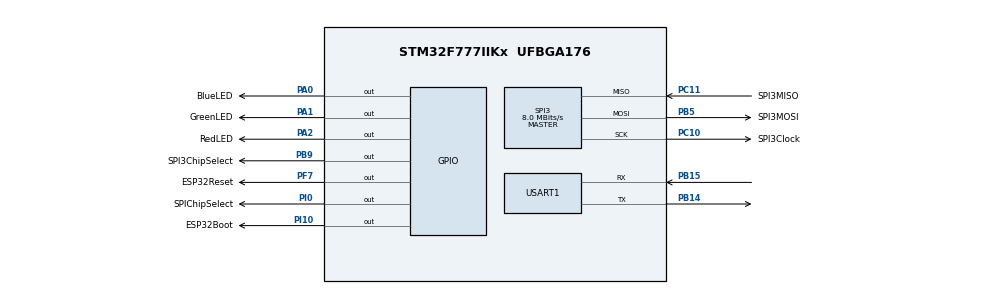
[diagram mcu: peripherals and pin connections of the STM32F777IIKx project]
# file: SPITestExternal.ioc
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Mcu.Family=STM32F7
Mcu.Name=STM32F777IIKx
Mcu.Package=UFBGA176
NVIC.PriorityGroup=NVIC_PRIORITYGROUP_4
NVIC.USART1_IRQn=true\:0\:0\:false\:false\:true\:true\:true
PA0/WKUP.GPIO_Label=BlueLED
PA0/WKUP.Signal=GPIO_Output
PA1.GPIO_Label=GreenLED
PA1.Signal=GPIO_Output
PA2.GPIO_Label=RedLED
PA2.Signal=GPIO_Output
PB14.Mode=Asynchronous
PB14.Signal=USART1_TX
PB15.Mode=Asynchronous
PB15.Signal=USART1_RX
PB5.GPIO_Label=SPI3MOSI
PB5.Mode=Full_Duplex_Master
PB5.Signal=SPI3_MOSI
PB9.GPIO_Label=SPI3ChipSelect
PB9.Signal=GPIO_Output
PC10.GPIO_Label=SPI3Clock
PC10.Mode=Full_Duplex_Master
PC10.Signal=SPI3_SCK
PC11.GPIO_Label=SPI3MISO
PC11.Mode=Full_Duplex_Master
PC11.Signal=SPI3_MISO
PD3.Signal=SPI2_SCK
PF7.GPIO_Label=ESP32Reset
PF7.GPIO_PuPd=GPIO_PULLUP
PF7.PinState=GPIO_PIN_SET
PF7.Signal=GPIO_Output
PI0.GPIO_Label=SPIChipSelect
PI0.PinState=GPIO_PIN_SET
PI0.Signal=GPIO_Output
PI10.GPIO_Label=ESP32Boot
PI10.GPIO_PuPd=GPIO_PULLUP
PI10.PinState=GPIO_PIN_SET
PI10.Signal=GPIO_Output
PI2.Signal=SPI2_MISO
PI3.Signal=SPI2_MOSI
ProjectManager.HeapSize=0x200
ProjectManager.StackSize=0x400
ProjectManager.TargetToolchain=STM32CubeIDE
RCC.HSE_VALUE=25000000
RCC.HSI_VALUE=16000000
RCC.LSE_VALUE=32768
RCC.USBFreq_Value=96000000
RCC.VCOOutputFreq_Value=192000000
SPI3.CalculateBaudRate=8.0 MBits/s
SPI3.DataSize=SPI_DATASIZE_8BIT
SPI3.Direction=SPI_DIRECTION_2LINES
SPI3.Mode=SPI_MODE_MASTER
SPI3.VirtualType=VM_MASTER
USART1.VirtualMode-Asynchronous=VM_ASYNC
board=custom

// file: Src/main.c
/* USER CODE BEGIN Header */
/**
  ******************************************************************************
  * @file           : main.c
  * @brief          : Main program body
  ******************************************************************************
  ** This notice applies to any and all portions of this file
  * that are not between comment pairs USER CODE BEGIN and
  * USER CODE END. Other portions of this file, whether
  * inserted by the user or by software development tools
  * are owned by their respective copyright owners.
  *
  * COPYRIGHT(c) 2019 STMicroelectronics
  *
  * Redistribution and use in source and binary forms, with or without modification,
  * are permitted provided that the following conditions are met:
  *   1. Redistributions of source code must retain the above copyright notice,
  *      this list of conditions and the following disclaimer.
  *   2. Redistributions in binary form must reproduce the above copyright notice,
  *      this list of conditions and the following disclaimer in the documentation
  *      and/or other materials provided with the distribution.
  *   3. Neither the name of STMicroelectronics nor the names of its contributors
  *      may be used to endorse or promote products derived from this software
  *      without specific prior written permission.
  *
  * THIS SOFTWARE IS PROVIDED BY THE COPYRIGHT HOLDERS AND CONTRIBUTORS "AS IS"
  * AND ANY EXPRESS OR IMPLIED WARRANTIES, INCLUDING, BUT NOT LIMITED TO, THE
  * IMPLIED WARRANTIES OF MERCHANTABILITY AND FITNESS FOR A PARTICULAR PURPOSE ARE
  * DISCLAIMED. IN NO EVENT SHALL THE COPYRIGHT HOLDER OR CONTRIBUTORS BE LIABLE
  * FOR ANY DIRECT, INDIRECT, INCIDENTAL, SPECIAL, EXEMPLARY, OR CONSEQUENTIAL
  * DAMAGES (INCLUDING, BUT NOT LIMITED TO, PROCUREMENT OF SUBSTITUTE GOODS OR
  * SERVICES; LOSS OF USE, DATA, OR PROFITS; OR BUSINESS INTERRUPTION) HOWEVER
  * CAUSED AND ON ANY THEORY OF LIABILITY, WHETHER IN CONTRACT, STRICT LIABILITY,
  * OR TORT (INCLUDING NEGLIGENCE OR OTHERWISE) ARISING IN ANY WAY OUT OF THE USE
  * OF THIS SOFTWARE, EVEN IF ADVISED OF THE POSSIBILITY OF SUCH DAMAGE.
  *
  ******************************************************************************
  */
/* USER CODE END Header */

#include "main.h"

/* USER CODE BEGIN Includes */

#include <string.h>
#include <stdio.h>

/* USER CODE END Includes */

SPI_HandleTypeDef hspi3;

UART_HandleTypeDef huart1;

void SystemClock_Config(void);
static void MX_GPIO_Init(void);
static void MX_USART1_UART_Init(void);
static void MX_SPI3_Init(void);

int main(void)
{

  /* MCU Configuration--------------------------------------------------------*/

  /* Reset of all peripherals, Initializes the Flash interface and the Systick. */
  HAL_Init();

  /* Configure the system clock */
  SystemClock_Config();

  /* Initialize all configured peripherals */
  MX_GPIO_Init();
  MX_USART1_UART_Init();
  MX_SPI3_Init();

  /* Infinite loop */
  /* USER CODE BEGIN WHILE */

    char sendBuffer[129];
    char receiveBuffer[129];
    int counter = 0;

    HAL_GPIO_WritePin(RedLED_GPIO_Port, RedLED_Pin, GPIO_PIN_SET);
    HAL_GPIO_WritePin(GreenLED_GPIO_Port, GreenLED_Pin, GPIO_PIN_SET);
    HAL_GPIO_WritePin(BlueLED_GPIO_Port, BlueLED_Pin, GPIO_PIN_SET);

    HAL_GPIO_WritePin(ESP32Boot_GPIO_Port, ESP32Boot_Pin, GPIO_PIN_SET);
    HAL_GPIO_WritePin(ESP32Reset_GPIO_Port, ESP32Reset_Pin, GPIO_PIN_RESET);
    HAL_Delay(1);
    HAL_GPIO_WritePin(ESP32Reset_GPIO_Port, ESP32Reset_Pin, GPIO_PIN_SET);
    HAL_GPIO_DeInit(ESP32Reset_GPIO_Port, ESP32Reset_Pin);

    while (1)
    {
      memset(sendBuffer, ' ', sizeof(sendBuffer));
      snprintf(sendBuffer, sizeof(sendBuffer), "Hello, world %d", counter);
      counter++;
      int length = strlen(sendBuffer);
      int transmitLength = length + (4 - (length % 4));
      sendBuffer[length] = ' ';
      if (transmitLength < 32) transmitLength = 32;
      HAL_GPIO_WritePin(SPI3ChipSelect_GPIO_Port, SPI3ChipSelect_Pin, GPIO_PIN_RESET);
      memset(receiveBuffer, 0, sizeof(receiveBuffer));
      HAL_SPI_TransmitReceive(&hspi3, (uint8_t *) sendBuffer, (uint8_t *) receiveBuffer, transmitLength, HAL_MAX_DELAY);
      HAL_GPIO_WritePin(SPI3ChipSelect_GPIO_Port, SPI3ChipSelect_Pin, GPIO_PIN_SET);
      strcat(receiveBuffer, "\n\x00");

      HAL_UART_Transmit(&huart1, (uint8_t *) receiveBuffer, strlen(receiveBuffer), HAL_MAX_DELAY);
      HAL_GPIO_TogglePin(BlueLED_GPIO_Port, BlueLED_Pin);
      HAL_Delay(500);

    /* USER CODE END WHILE */

    }
}

void SystemClock_Config(void)
{
  RCC_OscInitTypeDef RCC_OscInitStruct = {0};
  RCC_ClkInitTypeDef RCC_ClkInitStruct = {0};
  RCC_PeriphCLKInitTypeDef PeriphClkInitStruct = {0};

  /** Configure the main internal regulator output voltage
  */
  __HAL_RCC_PWR_CLK_ENABLE();
  __HAL_PWR_VOLTAGESCALING_CONFIG(PWR_REGULATOR_VOLTAGE_SCALE3);
  /** Initializes the CPU, AHB and APB busses clocks
  */
  RCC_OscInitStruct.OscillatorType = RCC_OSCILLATORTYPE_HSI;
  RCC_OscInitStruct.HSIState = RCC_HSI_ON;
  RCC_OscInitStruct.HSICalibrationValue = RCC_HSICALIBRATION_DEFAULT;
  RCC_OscInitStruct.PLL.PLLState = RCC_PLL_NONE;
  if (HAL_RCC_OscConfig(&RCC_OscInitStruct) != HAL_OK)
  {
    Error_Handler();
  }
  /** Initializes the CPU, AHB and APB busses clocks
  */
  RCC_ClkInitStruct.ClockType = RCC_CLOCKTYPE_HCLK|RCC_CLOCKTYPE_SYSCLK
                              |RCC_CLOCKTYPE_PCLK1|RCC_CLOCKTYPE_PCLK2;
  RCC_ClkInitStruct.SYSCLKSource = RCC_SYSCLKSOURCE_HSI;
  RCC_ClkInitStruct.AHBCLKDivider = RCC_SYSCLK_DIV1;
  RCC_ClkInitStruct.APB1CLKDivider = RCC_HCLK_DIV1;
  RCC_ClkInitStruct.APB2CLKDivider = RCC_HCLK_DIV1;

  if (HAL_RCC_ClockConfig(&RCC_ClkInitStruct, FLASH_LATENCY_0) != HAL_OK)
  {
    Error_Handler();
  }
  PeriphClkInitStruct.PeriphClockSelection = RCC_PERIPHCLK_USART1;
  PeriphClkInitStruct.Usart1ClockSelection = RCC_USART1CLKSOURCE_PCLK2;
  if (HAL_RCCEx_PeriphCLKConfig(&PeriphClkInitStruct) != HAL_OK)
  {
    Error_Handler();
  }
}

static void MX_SPI3_Init(void)
{

  /* SPI3 parameter configuration*/
  hspi3.Instance = SPI3;
  hspi3.Init.Mode = SPI_MODE_MASTER;
  hspi3.Init.Direction = SPI_DIRECTION_2LINES;
  hspi3.Init.DataSize = SPI_DATASIZE_8BIT;
  hspi3.Init.CLKPolarity = SPI_POLARITY_LOW;
  hspi3.Init.CLKPhase = SPI_PHASE_1EDGE;
  hspi3.Init.NSS = SPI_NSS_SOFT;
  hspi3.Init.BaudRatePrescaler = SPI_BAUDRATEPRESCALER_2;
  hspi3.Init.FirstBit = SPI_FIRSTBIT_MSB;
  hspi3.Init.TIMode = SPI_TIMODE_DISABLE;
  hspi3.Init.CRCCalculation = SPI_CRCCALCULATION_DISABLE;
  hspi3.Init.CRCPolynomial = 7;
  hspi3.Init.CRCLength = SPI_CRC_LENGTH_DATASIZE;
  hspi3.Init.NSSPMode = SPI_NSS_PULSE_ENABLE;
  if (HAL_SPI_Init(&hspi3) != HAL_OK)
  {
    Error_Handler();
  }

}

static void MX_USART1_UART_Init(void)
{

  huart1.Instance = USART1;
  huart1.Init.BaudRate = 115200;
  huart1.Init.WordLength = UART_WORDLENGTH_8B;
  huart1.Init.StopBits = UART_STOPBITS_1;
  huart1.Init.Parity = UART_PARITY_NONE;
  huart1.Init.Mode = UART_MODE_TX_RX;
  huart1.Init.HwFlowCtl = UART_HWCONTROL_NONE;
  huart1.Init.OverSampling = UART_OVERSAMPLING_16;
  huart1.Init.OneBitSampling = UART_ONE_BIT_SAMPLE_DISABLE;
  huart1.AdvancedInit.AdvFeatureInit = UART_ADVFEATURE_NO_INIT;
  if (HAL_UART_Init(&huart1) != HAL_OK)
  {
    Error_Handler();
  }

}

static void MX_GPIO_Init(void)
{
  GPIO_InitTypeDef GPIO_InitStruct = {0};

  /* GPIO Ports Clock Enable */
  __HAL_RCC_GPIOB_CLK_ENABLE();
  __HAL_RCC_GPIOC_CLK_ENABLE();
  __HAL_RCC_GPIOI_CLK_ENABLE();
  __HAL_RCC_GPIOD_CLK_ENABLE();
  __HAL_RCC_GPIOF_CLK_ENABLE();
  __HAL_RCC_GPIOA_CLK_ENABLE();

  /*Configure GPIO pin Output Level */
  HAL_GPIO_WritePin(SPI3ChipSelect_GPIO_Port, SPI3ChipSelect_Pin, GPIO_PIN_RESET);

  /*Configure GPIO pin Output Level */
  HAL_GPIO_WritePin(GPIOI, ESP32Boot_Pin|SPIChipSelect_Pin, GPIO_PIN_SET);

  /*Configure GPIO pin Output Level */
  HAL_GPIO_WritePin(ESP32Reset_GPIO_Port, ESP32Reset_Pin, GPIO_PIN_SET);

  /*Configure GPIO pin Output Level */
  HAL_GPIO_WritePin(GPIOA, GreenLED_Pin|BlueLED_Pin|RedLED_Pin, GPIO_PIN_RESET);

  /*Configure GPIO pin : SPI3ChipSelect_Pin */
  GPIO_InitStruct.Pin = SPI3ChipSelect_Pin;
  GPIO_InitStruct.Mode = GPIO_MODE_OUTPUT_PP;
  GPIO_InitStruct.Pull = GPIO_NOPULL;
  GPIO_InitStruct.Speed = GPIO_SPEED_FREQ_LOW;
  HAL_GPIO_Init(SPI3ChipSelect_GPIO_Port, &GPIO_InitStruct);

  /*Configure GPIO pins : PI3 PI2 */
  GPIO_InitStruct.Pin = GPIO_PIN_3|GPIO_PIN_2;
  GPIO_InitStruct.Mode = GPIO_MODE_AF_PP;
  GPIO_InitStruct.Pull = GPIO_NOPULL;
  GPIO_InitStruct.Speed = GPIO_SPEED_FREQ_VERY_HIGH;
  GPIO_InitStruct.Alternate = GPIO_AF5_SPI2;
  HAL_GPIO_Init(GPIOI, &GPIO_InitStruct);

  /*Configure GPIO pin : PD3 */
  GPIO_InitStruct.Pin = GPIO_PIN_3;
  GPIO_InitStruct.Mode = GPIO_MODE_AF_PP;
  GPIO_InitStruct.Pull = GPIO_NOPULL;
  GPIO_InitStruct.Speed = GPIO_SPEED_FREQ_VERY_HIGH;
  GPIO_InitStruct.Alternate = GPIO_AF5_SPI2;
  HAL_GPIO_Init(GPIOD, &GPIO_InitStruct);

  /*Configure GPIO pin : ESP32Boot_Pin */
  GPIO_InitStruct.Pin = ESP32Boot_Pin;
  GPIO_InitStruct.Mode = GPIO_MODE_OUTPUT_PP;
  GPIO_InitStruct.Pull = GPIO_PULLUP;
  GPIO_InitStruct.Speed = GPIO_SPEED_FREQ_LOW;
  HAL_GPIO_Init(ESP32Boot_GPIO_Port, &GPIO_InitStruct);

  /*Configure GPIO pin : SPIChipSelect_Pin */
  GPIO_InitStruct.Pin = SPIChipSelect_Pin;
  GPIO_InitStruct.Mode = GPIO_MODE_OUTPUT_PP;
  GPIO_InitStruct.Pull = GPIO_NOPULL;
  GPIO_InitStruct.Speed = GPIO_SPEED_FREQ_LOW;
  HAL_GPIO_Init(SPIChipSelect_GPIO_Port, &GPIO_InitStruct);

  /*Configure GPIO pin : ESP32Reset_Pin */
  GPIO_InitStruct.Pin = ESP32Reset_Pin;
  GPIO_InitStruct.Mode = GPIO_MODE_OUTPUT_PP;
  GPIO_InitStruct.Pull = GPIO_PULLUP;
  GPIO_InitStruct.Speed = GPIO_SPEED_FREQ_LOW;
  HAL_GPIO_Init(ESP32Reset_GPIO_Port, &GPIO_InitStruct);

  /*Configure GPIO pins : GreenLED_Pin BlueLED_Pin RedLED_Pin */
  GPIO_InitStruct.Pin = GreenLED_Pin|BlueLED_Pin|RedLED_Pin;
  GPIO_InitStruct.Mode = GPIO_MODE_OUTPUT_PP;
  GPIO_InitStruct.Pull = GPIO_NOPULL;
  GPIO_InitStruct.Speed = GPIO_SPEED_FREQ_LOW;
  HAL_GPIO_Init(GPIOA, &GPIO_InitStruct);

}

void Error_Handler(void)
{
}

/************************ (C) COPYRIGHT STMicroelectronics *****END OF FILE****/
